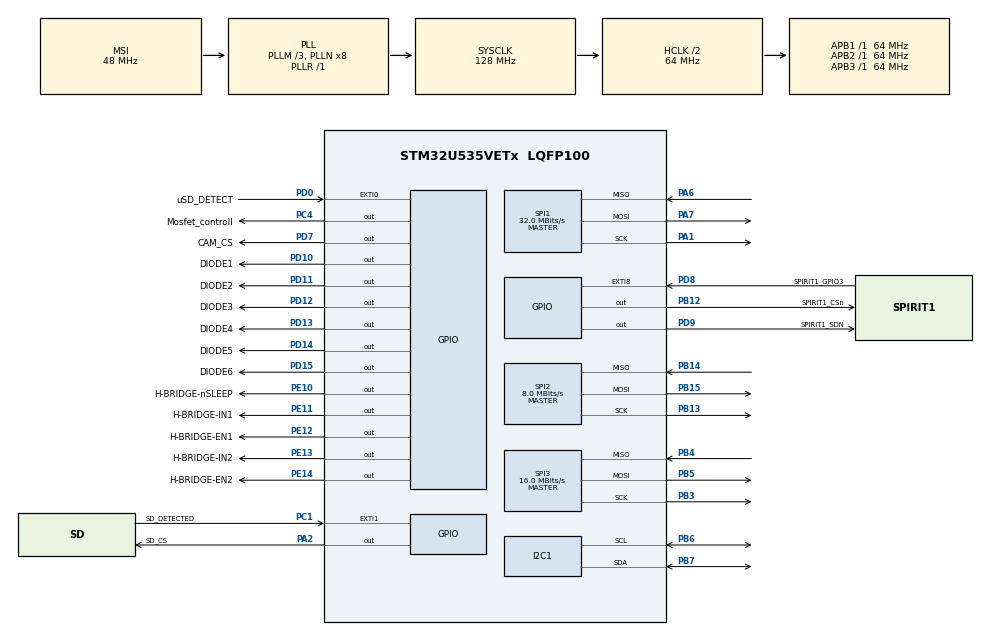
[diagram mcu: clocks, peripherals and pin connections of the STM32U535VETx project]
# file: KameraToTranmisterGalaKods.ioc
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CORTEX_M33_NS.userName=CORTEX_M33
I2C1.Timing=0x10707DBC
Mcu.Family=STM32U5
Mcu.Name=STM32U535VETx
Mcu.Package=LQFP100
NVIC.EXTI8_IRQn=true\:0\:0\:false\:false\:true\:true\:true\:true
NVIC.PriorityGroup=NVIC_PRIORITYGROUP_4
PA1.Mode=Full_Duplex_Master
PA1.Signal=SPI1_SCK
PA13\ (JTMS/SWDIO).Mode=Serial_Wire
PA13\ (JTMS/SWDIO).Signal=DEBUG_JTMS-SWDIO
PA14\ (JTCK/SWCLK).Mode=Serial_Wire
PA14\ (JTCK/SWCLK).Signal=DEBUG_JTCK-SWCLK
PA2.GPIO_Label=SD_CS
PA2.Signal=GPIO_Output
PA6.Mode=Full_Duplex_Master
PA6.Signal=SPI1_MISO
PA7.Mode=Full_Duplex_Master
PA7.Signal=SPI1_MOSI
PB12.GPIO_Label=SPIRIT1_CSn
PB12.Signal=GPIO_Output
PB13.Mode=Full_Duplex_Master
PB13.Signal=SPI2_SCK
PB14.Mode=Full_Duplex_Master
PB14.Signal=SPI2_MISO
PB15.Mode=Full_Duplex_Master
PB15.Signal=SPI2_MOSI
PB3\ (JTDO/TRACESWO).GPIO_PuPd=GPIO_NOPULL
PB3\ (JTDO/TRACESWO).Mode=Full_Duplex_Master
PB3\ (JTDO/TRACESWO).Signal=SPI3_SCK
PB4\ (NJTRST).Mode=Full_Duplex_Master
PB4\ (NJTRST).Signal=SPI3_MISO
PB5.Mode=Full_Duplex_Master
PB5.Signal=SPI3_MOSI
PB6.Mode=I2C
PB6.Signal=I2C1_SCL
PB7.Mode=I2C
PB7.Signal=I2C1_SDA
PC1.GPIO_Label=SD_DETECTED
PC1.Signal=GPXTI1
PC4.GPIO_Label=Mosfet_controll
PC4.Signal=GPIO_Output
PD0.GPIO_Label=uSD_DETECT
PD0.Signal=GPXTI0
PD10.GPIO_Label=DIODE1
PD10.Signal=GPIO_Output
PD11.GPIO_Label=DIODE2
PD11.Signal=GPIO_Output
PD12.GPIO_Label=DIODE3
PD12.Signal=GPIO_Output
PD13.GPIO_Label=DIODE4
PD13.Signal=GPIO_Output
PD14.GPIO_Label=DIODE5
PD14.Signal=GPIO_Output
PD15.GPIO_Label=DIODE6
PD15.Signal=GPIO_Output
PD7.GPIO_Label=CAM_CS
PD7.GPIO_PuPd=GPIO_NOPULL
PD7.Signal=GPIO_Output
PD8.GPIO_Label=SPIRIT1_GPIO3
PD8.GPIO_ModeDefaultEXTI=GPIO_MODE_IT_FALLING
PD8.Privilege=EXTI_LINE_NPRIV
PD8.Signal=GPXTI8
PD9.GPIO_Label=SPIRIT1_SDN
PD9.Signal=GPIO_Output
PE10.GPIO_Label=H-BRIDGE-nSLEEP
PE10.Signal=GPIO_Output
PE11.GPIO_Label=H-BRIDGE-IN1
PE11.Signal=GPIO_Output
PE12.GPIO_Label=H-BRIDGE-EN1
PE12.Signal=GPIO_Output
PE13.GPIO_Label=H-BRIDGE-IN2
PE13.Signal=GPIO_Output
PE14.GPIO_Label=H-BRIDGE-EN2
PE14.Signal=GPIO_Output
ProjectManager.HeapSize=0x200
ProjectManager.StackSize=0x400
ProjectManager.TargetToolchain=STM32CubeIDE
RCC.ADCFreq_Value=16000000
RCC.AHBCLKDivider=RCC_SYSCLK_DIV2
RCC.AHBFreq_Value=64000000
RCC.APB1Freq_Value=64000000
RCC.APB1TimFreq_Value=64000000
RCC.APB2Freq_Value=64000000
RCC.APB2TimFreq_Value=64000000
RCC.APB3Freq_Value=64000000
RCC.CortexFreq_Value=64000000
RCC.DACCLockSelectionVirtual=RCC_DAC1CLKSOURCE_LSI
RCC.DACCLockSelectionVirtualString=RCC_DAC1CLKSOURCE_LSI
RCC.EPOD_VALUE=48000000
RCC.HCLKFreq_Value=64000000
RCC.HSE_VALUE=16000000
RCC.HSI48_VALUE=48000000
RCC.HSI_VALUE=16000000
RCC.LSE_VALUE=32768
RCC.LSIDIV_VALUE=32000
RCC.MSIClockRange=RCC_MSIRANGE_0
RCC.MSI_VALUE=48000000
RCC.PLL1P=1
RCC.PLL1R=1
RCC.PLL2FRACN=0
RCC.PLL3FRACN=0
RCC.PLLFRACN=0
RCC.PLLM=3
RCC.PLLN=8
RCC.SYSCLKFreq_VALUE=128000000
RCC.SYSCLKSource=RCC_SYSCLKSOURCE_PLLCLK
RCC.USBFreq_Value=48000000
RCC.VCOOutputFreq_Value=128000000
SPI1.BaudRatePrescaler=SPI_BAUDRATEPRESCALER_4
SPI1.CalculateBaudRate=32.0 MBits/s
SPI1.DataSize=SPI_DATASIZE_8BIT
SPI1.Direction=SPI_DIRECTION_2LINES
SPI1.Mode=SPI_MODE_MASTER
SPI1.VirtualType=VM_MASTER
SPI2.BaudRatePrescaler=SPI_BAUDRATEPRESCALER_16
SPI2.CalculateBaudRate=8.0 MBits/s
SPI2.DataSize=SPI_DATASIZE_8BIT
SPI2.Direction=SPI_DIRECTION_2LINES
SPI2.Mode=SPI_MODE_MASTER
SPI2.NSSPMode=SPI_NSS_PULSE_DISABLE
SPI2.VirtualType=VM_MASTER
SPI3.BaudRatePrescaler=SPI_BAUDRATEPRESCALER_8
SPI3.CLKPolarity=SPI_POLARITY_LOW
SPI3.CalculateBaudRate=16.0 MBits/s
SPI3.Direction=SPI_DIRECTION_2LINES
SPI3.MasterKeepIOState=SPI_MASTER_KEEP_IO_STATE_ENABLE
SPI3.Mode=SPI_MODE_MASTER
SPI3.NSSPMode=SPI_NSS_PULSE_DISABLE
SPI3.ReadyPolarity=SPI_RDY_POLARITY_LOW
SPI3.VirtualType=VM_MASTER
VP_LPBAMQUEUE_VS_QUEUE.Mode=QUEUEMODE
VP_LPBAM_VS_SIG1.Mode=SmartRun
VP_LPBAM_VS_SIG4.Mode=LPDMA1
VP_MEMORYMAP_VS_MEMORYMAP.Mode=CurAppReg
VP_PWR_VS_SECSignals.Mode=Security/Privilege
VP_RTC_VS_RTC_Activate.Mode=RTC_Enabled
VP_RTC_VS_RTC_Calendar.Mode=RTC_Calendar
board=custom

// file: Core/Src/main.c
/* USER CODE BEGIN Header */
/**
  ******************************************************************************
  * @file           : main.c
  * @brief          : Main program body
  ******************************************************************************
  * @attention
  *
  * Copyright (c) 2024 STMicroelectronics.
  * All rights reserved.
  *
  * This software is licensed under terms that can be found in the LICENSE file
  * in the root directory of this software component.
  * If no LICENSE file comes with this software, it is provided AS-IS.
  *
  ******************************************************************************
  */
/* USER CODE END Header */
#include "main.h"
#include "i2c.h"
#include "memorymap.h"
#include "rtc.h"
#include "spi.h"
#include "gpio.h"

/* USER CODE BEGIN Includes */

#include "app_fatfs.h"
#include "fatfs_sd.h"

#include <string.h> /* memset */

#include "string.h"
#include "ArduCAM.h"
#include <stdbool.h>

#include "Spirit1_function.h"
#include "programm_function.h"
/* USER CODE END Includes */

/* USER CODE BEGIN PD */

//Spirit1 parameters

/* USER CODE END PD */

void SystemClock_Config(void);
/* USER CODE BEGIN PFP */

//Camera function prototypes
int writeSensorRegs16_8(const struct sensor_reg reglist[]);
void initCam();
uint8_t writeSensorReg16_8(int regID, int regDat);
uint8_t readSensorReg16_8(uint16_t regID, uint8_t* regDat);
void write_reg(int address,int value);
uint8_t get_bit(uint8_t addr, uint8_t bit);

void turnCameraOff();
void turnCameraOn();

void takePicture();

void reciveAndSavePicture(FIL* fp);
void turnOnFilter();
void turnOffFilter();
void getTimeAndDate(RTC_TimeTypeDef *sTime, RTC_DateTypeDef *sDate);
/* USER CODE END PFP */

/* USER CODE BEGIN 0 */

//Spirit1 flag status
volatile SpiritFlagStatus xTxDoneFlag;
volatile SpiritFlagStatus xRxDoneFlag;

FATFS fs;  // file system
FIL testFile; // Files
FILINFO fno;
FRESULT fresult;  // status result
UINT br, bw;  // File read/write count

FATFS *pfs;
DWORD fre_clust;
uint32_t total, free_space;

/* USER CODE END 0 */

int main(void)
{
  /* USER CODE BEGIN 1 */
	//Variables
	uint8_t buffer[80];   /* File copy buffer */

	uint8_t spi_recv_buf = 0;
	uint8_t spi_buf;

	uint8_t vid, pid;

    RTC_DateTypeDef gDate;
    RTC_TimeTypeDef gTime;
    char time[55];
  /* USER CODE END 1 */

  /* MCU Configuration--------------------------------------------------------*/

  /* Reset of all peripherals, Initializes the Flash interface and the Systick. */
  HAL_Init();

  /* Configure the system clock */
  SystemClock_Config();

  /* Initialize all configured peripherals */
  MX_GPIO_Init();
  MX_SPI1_Init();
  MX_I2C1_Init();
  MX_SPI2_Init();
  MX_SPI3_Init();
  MX_RTC_Init();
  /* USER CODE BEGIN 2 */
	turnCameraOff();
  //init fatfs
  if (MX_FATFS_Init() != APP_OK) {
      Error_Handler();
   }

  //set_time();

  	// MOUNT SD CARD
  	fresult = f_mount(&fs, "/", 1);
	if (fresult != FR_OK) {
		HAL_GPIO_WritePin(DIODE1_GPIO_Port, DIODE1_Pin, GPIO_PIN_SET);
	} else {
		HAL_GPIO_WritePin(DIODE1_GPIO_Port, DIODE1_Pin, GPIO_PIN_RESET);
	}

  //Create directorys for picture storage
	fresult = f_mkdir("RedzamaGaisma");
	fresult = f_mkdir("IRGaisma");
	fresult = f_mkdir("SutitieAtteli");
	fresult = f_mkdir("Temp");

	Spirit1_init();

  /* USER CODE END 2 */

  /* Infinite loop */
	while (1) {
			/* USER CODE BEGIN 3 */
			/*
			 * Init camera module after turn off
			 */
			turnCameraOn();
			HAL_Delay(50);
			HAL_GPIO_WritePin(CAM_CS_GPIO_Port, CAM_CS_Pin, GPIO_PIN_SET);
			HAL_Delay(20);
			//Check if SPI  communication with camera module is working
			while (spi_recv_buf != 0x55) {
				spi_buf = 0x00 | 0x80;
				HAL_GPIO_WritePin(CAM_CS_GPIO_Port, CAM_CS_Pin, GPIO_PIN_RESET);
				HAL_SPI_TransmitReceive(&hspi3, &spi_buf, &spi_recv_buf, 1, 100);
				spi_buf = 0x55;
				HAL_SPI_TransmitReceive(&hspi3, &spi_buf, &spi_recv_buf, 1, 100);
				HAL_GPIO_WritePin(CAM_CS_GPIO_Port, CAM_CS_Pin, GPIO_PIN_SET);
				spi_buf = 0x00;
				HAL_GPIO_WritePin(CAM_CS_GPIO_Port, CAM_CS_Pin, GPIO_PIN_RESET);
				HAL_SPI_TransmitReceive(&hspi3, &spi_buf, &spi_recv_buf, 1, 100);
				spi_buf = 0x55;
				HAL_SPI_TransmitReceive(&hspi3, &spi_buf, &spi_recv_buf, 1, 100);
				HAL_GPIO_WritePin(CAM_CS_GPIO_Port, CAM_CS_Pin, GPIO_PIN_SET);
				if (spi_recv_buf != 0x55) {
					HAL_GPIO_TogglePin(DIODE2_GPIO_Port, DIODE2_Pin); //Toogle diode to show if  Camera hasnt responded, or we dont recive correct data
					HAL_Delay(1000);
				} else {
					HAL_GPIO_TogglePin(DIODE1_GPIO_Port, DIODE1_Pin); //Tooge diode when Camera  responds correctly
					HAL_Delay(1000);
				}
			}
			//Check if the camera module type is OV5642
			writeSensorReg16_8(0xff, 0x01);
			readSensorReg16_8(OV5642_CHIPID_HIGH, &vid);
			readSensorReg16_8(OV5642_CHIPID_LOW, &pid);
			//Check if camera module responds
			if ((vid != 0x56) || (pid != 0x42)) {
				HAL_GPIO_TogglePin(DIODE2_GPIO_Port, DIODE2_Pin); //Toogle diode to show if  Camera hasnt responded, or we dont recive correct data
				while (1);
			}
			// init cam
			initCam();
			// Write ARDUCHIP_TIM, VSYNC_LEVEL_MASK to spi
			write_reg(ARDUCHIP_TIM, VSYNC_LEVEL_MASK);
			//Change picture size
			// Close auto exposure mode
			//uint8_t _x3503;
			//wrSensorReg16_8(0x5001,_x3503|0x01);
			//Manually set the exposure value
			writeSensorReg16_8(0x3500, 0x00);
			writeSensorReg16_8(0x3501, 0x79);
			writeSensorReg16_8(0x3502, 0xe0);
			/*
			 * Start picture taking and saving into sd card
			 */
			writeSensorRegs16_8(ov5642_320x240);
			sprintf(time, "Temp/temp.JPEG");
			//Create an file
			fresult = f_open(&testFile, time, FA_CREATE_ALWAYS | FA_WRITE);

			// set all camera registers to take a picture

			takePicture();
			//Wait for capture to be done
			while (get_bit(ARDUCHIP_TRIG, CAP_DONE_MASK) == 0);
			writeSensorRegs16_8(ov5642_2592x1944);
			//Recive picture save it into sd card
			reciveAndSavePicture(&testFile);
			f_close(&testFile);
			/* Get the RTC current Time */
			HAL_RTC_GetTime(&hrtc, &gTime, RTC_FORMAT_BIN);
			/* Get the RTC current Date */
			HAL_RTC_GetDate(&hrtc, &gDate, RTC_FORMAT_BIN);
			//Create file for next picture
			sprintf(time, "RedzamaGaisma/PIC-%02d-%02d-%02d-%02d-%02d-%2d.JPEG",
					gTime.Hours, gTime.Minutes, gTime.Seconds, gDate.Date,
					gDate.Month, (2000 + gDate.Year));
			//Create an file
			fresult = f_open(&testFile, time, FA_CREATE_ALWAYS | FA_WRITE);

			// set all camera registers to take a picture
			takePicture();
			//Wait for capture to be done
			while (get_bit(ARDUCHIP_TRIG, CAP_DONE_MASK) == 0);
			//Chose picture size
			//Recive picture save it into sd card
			reciveAndSavePicture(&testFile);
		//	reciveAndSavePicture(&testFile);
			f_close(&testFile);
			turnOnFilter();
			HAL_Delay(100);
			/* Get the RTC current Time */
			HAL_RTC_GetTime(&hrtc, &gTime, RTC_FORMAT_BIN);
			/* Get the RTC current Date */
			HAL_RTC_GetDate(&hrtc, &gDate, RTC_FORMAT_BIN);
			//Create file for next picture
			sprintf(time, "IRGaisma/PIC-%02d-%02d-%02d-%02d-%02d-%2d.JPEG",
					gTime.Hours, gTime.Minutes, gTime.Seconds, gDate.Date,
					gDate.Month, (2000 + gDate.Year));
			//Create an file
			fresult = f_open(&testFile, time,
					FA_CREATE_ALWAYS | FA_WRITE | FA_READ);

			// set all kamera registers to take a picture
			takePicture();
		//	turnOffFilter();
			//Wait for capture to be done
			while (get_bit(ARDUCHIP_TRIG, CAP_DONE_MASK) == 0);
			//Recive picture save it into sd card
			writeSensorRegs16_8(ov5642_320x240);
			reciveAndSavePicture(&testFile);
			f_close(&testFile);
			turnOffFilter();
			/* Get the RTC current Time */
			HAL_RTC_GetTime(&hrtc, &gTime, RTC_FORMAT_BIN);
			/* Get the RTC current Date */
			HAL_RTC_GetDate(&hrtc, &gDate, RTC_FORMAT_BIN);
			/* Display time Format: hh:mm:ss-dd-mm-yy */
			sprintf(time, "SutitieAtteli/PIC-%02d-%02d-%02d-%02d-%02d-%2d.JPEG",
					gTime.Hours, gTime.Minutes, gTime.Seconds, gDate.Date,
					gDate.Month, (2000 + gDate.Year));
			//Create an file
			fresult = f_open(&testFile, time, FA_CREATE_ALWAYS | FA_WRITE);

			// set all camera registers to take a picture
			takePicture();
			//Wait for capture to be done
			while (get_bit(ARDUCHIP_TRIG, CAP_DONE_MASK) == 0);
			writeSensorRegs16_8(ov5642_2592x1944);
			//Recive picture save it into sd card, and send it to ground base station
			reciveAndSavePicture(&testFile);
			f_close(&testFile);
			turnCameraOff();
			fresult = f_open(&testFile, time, FA_READ);
			for (;;) {
				fresult = f_read(&testFile, buffer, sizeof(buffer), &br);
				if (br == 0)
					break; /* error or eof */
				xTxDoneFlag = S_RESET;
				SPSGRF_StartTx(buffer, sizeof(buffer));
				while (!xTxDoneFlag);
			}
			f_close(&testFile);
			HAL_Delay(10000);
		}
  /* USER CODE END 3 */
}

void SystemClock_Config(void)
{
  RCC_OscInitTypeDef RCC_OscInitStruct = {0};
  RCC_ClkInitTypeDef RCC_ClkInitStruct = {0};

  /** Configure the main internal regulator output voltage
  */
  if (HAL_PWREx_ControlVoltageScaling(PWR_REGULATOR_VOLTAGE_SCALE1) != HAL_OK)
  {
    Error_Handler();
  }

  /** Initializes the CPU, AHB and APB buses clocks
  */
  RCC_OscInitStruct.OscillatorType = RCC_OSCILLATORTYPE_LSI|RCC_OSCILLATORTYPE_MSI;
  RCC_OscInitStruct.LSIState = RCC_LSI_ON;
  RCC_OscInitStruct.MSIState = RCC_MSI_ON;
  RCC_OscInitStruct.MSICalibrationValue = RCC_MSICALIBRATION_DEFAULT;
  RCC_OscInitStruct.MSIClockRange = RCC_MSIRANGE_0;
  RCC_OscInitStruct.LSIDiv = RCC_LSI_DIV1;
  RCC_OscInitStruct.PLL.PLLState = RCC_PLL_ON;
  RCC_OscInitStruct.PLL.PLLSource = RCC_PLLSOURCE_MSI;
  RCC_OscInitStruct.PLL.PLLMBOOST = RCC_PLLMBOOST_DIV4;
  RCC_OscInitStruct.PLL.PLLM = 3;
  RCC_OscInitStruct.PLL.PLLN = 8;
  RCC_OscInitStruct.PLL.PLLP = 1;
  RCC_OscInitStruct.PLL.PLLQ = 2;
  RCC_OscInitStruct.PLL.PLLR = 1;
  RCC_OscInitStruct.PLL.PLLRGE = RCC_PLLVCIRANGE_1;
  RCC_OscInitStruct.PLL.PLLFRACN = 0;
  if (HAL_RCC_OscConfig(&RCC_OscInitStruct) != HAL_OK)
  {
    Error_Handler();
  }

  /** Initializes the CPU, AHB and APB buses clocks
  */
  RCC_ClkInitStruct.ClockType = RCC_CLOCKTYPE_HCLK|RCC_CLOCKTYPE_SYSCLK
                              |RCC_CLOCKTYPE_PCLK1|RCC_CLOCKTYPE_PCLK2
                              |RCC_CLOCKTYPE_PCLK3;
  RCC_ClkInitStruct.SYSCLKSource = RCC_SYSCLKSOURCE_PLLCLK;
  RCC_ClkInitStruct.AHBCLKDivider = RCC_SYSCLK_DIV2;
  RCC_ClkInitStruct.APB1CLKDivider = RCC_HCLK_DIV1;
  RCC_ClkInitStruct.APB2CLKDivider = RCC_HCLK_DIV1;
  RCC_ClkInitStruct.APB3CLKDivider = RCC_HCLK_DIV1;

  if (HAL_RCC_ClockConfig(&RCC_ClkInitStruct, FLASH_LATENCY_1) != HAL_OK)
  {
    Error_Handler();
  }
}

/* USER CODE BEGIN 4 */

void HAL_GPIO_EXTI_Falling_Callback(uint16_t GPIO_Pin)
{
	SpiritIrqs xIrqStatus;

	if (GPIO_Pin != SPIRIT1_GPIO3_Pin)
	{
		return;
	}

	SpiritIrqGetStatus(&xIrqStatus);
	if (xIrqStatus.IRQ_TX_DATA_SENT)
	{
		xTxDoneFlag = S_SET;
	}
	if (xIrqStatus.IRQ_RX_DATA_READY)
	{
		xRxDoneFlag = S_SET;
	}
	if (xIrqStatus.IRQ_RX_DATA_DISC || xIrqStatus.IRQ_RX_TIMEOUT)
	{
		SpiritCmdStrobeRx();
	}
}

//Camera functions

/**
 * @brief Writes all the neccasery values to registers
 * to set camera in capture mode, and for it
 * to output jpeg images
 *
 *
 */
void initCam()
{
	writeSensorReg16_8(0x3008, 0x80);
	writeSensorRegs16_8(OV5642_QVGA_Preview);

	HAL_Delay(200);

	writeSensorRegs16_8(OV5642_JPEG_Capture_QSXGA);
	writeSensorRegs16_8(ov5642_320x240);

	HAL_Delay(100);

	writeSensorReg16_8(0x3818, 0xa8);
	writeSensorReg16_8(0x3621, 0x10);
	writeSensorReg16_8(0x3801, 0xb0);
	writeSensorReg16_8(0x4407, 0x08);
	writeSensorReg16_8(0x5888, 0x00);
	writeSensorReg16_8(0x5000, 0xFF);
}

/**
 * @brief Write data to ov5642 sensor using I2C multiple register
 *
 * @param reglist structure whis has all the registers and value
 * that have to be writen to the sensor
 */
int writeSensorRegs16_8(const struct sensor_reg reglist[])
{
	unsigned int reg_addr;
	unsigned char reg_val;
	const struct sensor_reg *next = reglist;

	while ((reg_addr != 0xffff) | (reg_val != 0xff))
	{
		reg_addr = pgm_read_word(&next->reg);
		reg_val = pgm_read_word(&next->val);

		writeSensorReg16_8(reg_addr, reg_val);

		next++;
	}
	return 1;
}

/**
 * @brief Read data from ov5642 sensor using I2C single register
 *
 * @param regID register address
 * @param regDat pointer to data
 */
uint8_t readSensorReg16_8(uint16_t regID, uint8_t *regDat)
{
	uint8_t I2C_buf_register[2];

	I2C_buf_register[0] = regID >> 8;
	I2C_buf_register[1] = regID & 0x00FF;
	HAL_I2C_Master_Transmit(&hi2c1, 0x78, I2C_buf_register, 2, HAL_MAX_DELAY);
	HAL_I2C_Master_Receive(&hi2c1, 0x79, regDat, 1, HAL_MAX_DELAY);
	HAL_Delay(1);

	return 1;
}

/**
 * @brief Write data to ov5642 sensor using I2C single register
 *
 * @param regID register address
 * @param regDat pointer to data
 */
uint8_t writeSensorReg16_8(int regID, int regDat)
{
	uint8_t I2C_buf_register[3];

	I2C_buf_register[0] = regID >> 8;
	I2C_buf_register[1] = regID & 0x00FF;
	I2C_buf_register[2] = regDat & 0x00FF;
	HAL_I2C_Master_Transmit(&hi2c1, 0x78, I2C_buf_register, 3, HAL_MAX_DELAY);

	return 1;
}

/**
 * @brief Write data to camera module register using SPI
 *
 * @param address register address
 * @param value data to be writen in the register
 */
void write_reg(int address, int value)
{
	uint8_t spi_recv_buf = 0;
	uint8_t spi_buf;

	spi_buf = address | 0x80;
	HAL_GPIO_WritePin(CAM_CS_GPIO_Port, CAM_CS_Pin, GPIO_PIN_RESET);
	HAL_SPI_TransmitReceive(&hspi3, &spi_buf, &spi_recv_buf, 1, 100);

	spi_buf = value;
	HAL_SPI_TransmitReceive(&hspi3, &spi_buf, &spi_recv_buf, 1, 100);
	HAL_GPIO_WritePin(CAM_CS_GPIO_Port, CAM_CS_Pin, GPIO_PIN_SET);

}

/**
 * @brief Read data to camera module register using SPI
 *
 * @param address register address
 *
 * @retval Returns read data from register
 *
 */
uint8_t read_reg(int address)
{
	uint8_t spi_recv_buf = 0;
	uint8_t spi_buf;

	spi_buf = address;
	HAL_GPIO_WritePin(CAM_CS_GPIO_Port, CAM_CS_Pin, GPIO_PIN_RESET);
	HAL_SPI_TransmitReceive(&hspi3, &spi_buf, &spi_recv_buf, 1, 100);

	spi_buf = 0x00;
	HAL_SPI_TransmitReceive(&hspi3, &spi_buf, &spi_recv_buf, 1, 100);
	HAL_GPIO_WritePin(CAM_CS_GPIO_Port, CAM_CS_Pin, GPIO_PIN_SET);
	return spi_recv_buf;

}

/**
 * @brief get a single bit from camera module register
 *
 * @param address register address
 * @param bit bit you want to read
 *
 * @retval Returns bit read from register
 */
uint8_t get_bit(uint8_t addr, uint8_t bit)
{
	uint8_t temp;
	temp = read_reg(addr & 0x7F);
	temp = temp & bit;
	return temp;
}

/**
 * @brief Disconnects the power supply of the camera module
 */
void turnCameraOff()
{
	HAL_GPIO_WritePin(Mosfet_controll_GPIO_Port, Mosfet_controll_Pin, 1);
}

/**
 * @brief Connect the power supply to the camera module
 */
void turnCameraOn()
{
	HAL_GPIO_WritePin(Mosfet_controll_GPIO_Port, Mosfet_controll_Pin, 0);
}

/**
 * @brief Set all camera module registers, to take a single picture
 */
void takePicture()
{
	  //Clear fifo flag
	  write_reg(ARDUCHIP_FIFO, FIFO_CLEAR_MASK);

	  //reset fifo read flag
	  write_reg(ARDUCHIP_FIFO, FIFO_RDPTR_RST_MASK);

	  ///Flush FIFO buffer
	  write_reg(ARDUCHIP_FIFO, FIFO_WRPTR_RST_MASK);

	  //Clear fifo flag
	  write_reg(ARDUCHIP_FIFO, FIFO_CLEAR_MASK);

	  // Set the amount of pictures to be taken to 1
	  write_reg(0x01, 1);

	  // Start capture
	  write_reg(ARDUCHIP_FIFO, FIFO_START_MASK);
}

/**
 * @brief Function that recives a picture from camera module,
 * and saves it in micro SD card, in the given path
 *
 * @param fp Pointer to fail object struct
 */
void reciveAndSavePicture(FIL* fp)
{
	uint8_t buffer_TX[PAYLOAD_LEN] = {0x00};
	uint8_t buffer_RX[PAYLOAD_LEN] = {0x00};

	uint8_t lastByteFound = 0;
	uint32_t count = 0, var = 0;
	uint8_t tempData_last;

	while (1)
	{
		readSPIbuff(buffer_TX, buffer_RX, PAYLOAD_LEN);

		count = count +1;

		for (var = 0; var < PAYLOAD_LEN; ++var)
		{
			fresult = f_putc((unsigned char)buffer_RX[var], fp);
			if (checkForLastByte(buffer_RX[var], tempData_last))
			{
				lastByteFound = 1;
				HAL_GPIO_TogglePin(DIODE4_GPIO_Port, DIODE4_Pin); //Toogle if last bit is found
				break;
			}
			if (checkForFirstByte(buffer_RX[var], tempData_last))
			{
				HAL_GPIO_TogglePin(DIODE3_GPIO_Port, DIODE3_Pin); //Toogle if first bit is found
			}
			tempData_last = buffer_RX[var];
		}
		if (lastByteFound == 1)
		{
			lastByteFound = 0;
			if(var > 77)
			{
				SPSGRF_StartTx(buffer_TX, sizeof(buffer_TX));
			}
			break;
		}
	}

	HAL_GPIO_WritePin(CAM_CS_GPIO_Port, CAM_CS_Pin, GPIO_PIN_SET);

	// Show the amount of bytes sent to ground base station
	count = count * PAYLOAD_LEN;

}

/**
 * @brief Turn on IR filter, by changing H  bridge values
 */
void turnOnFilter()
{
	HAL_GPIO_WritePin(H_BRIDGE_nSLEEP_GPIO_Port, H_BRIDGE_nSLEEP_Pin, GPIO_PIN_SET);

	HAL_Delay(10);

	HAL_GPIO_WritePin(H_BRIDGE_EN1_GPIO_Port, H_BRIDGE_EN1_Pin, GPIO_PIN_SET);
	HAL_GPIO_WritePin(H_BRIDGE_EN2_GPIO_Port, H_BRIDGE_EN2_Pin, GPIO_PIN_SET);
	HAL_GPIO_WritePin(H_BRIDGE_IN1_GPIO_Port, H_BRIDGE_IN1_Pin, GPIO_PIN_SET);

	HAL_Delay(200);

	HAL_GPIO_WritePin(H_BRIDGE_EN1_GPIO_Port, H_BRIDGE_EN1_Pin, GPIO_PIN_RESET);
	HAL_GPIO_WritePin(H_BRIDGE_EN2_GPIO_Port, H_BRIDGE_EN2_Pin, GPIO_PIN_RESET);
	HAL_GPIO_WritePin(H_BRIDGE_IN1_GPIO_Port, H_BRIDGE_IN1_Pin, GPIO_PIN_RESET);
	HAL_GPIO_WritePin(H_BRIDGE_nSLEEP_GPIO_Port, H_BRIDGE_nSLEEP_Pin, GPIO_PIN_RESET);
}

/**
 * @brief Turn off IR filter, by changing H  bridge values
 */
void turnOffFilter()
{
	HAL_GPIO_WritePin(H_BRIDGE_nSLEEP_GPIO_Port, H_BRIDGE_nSLEEP_Pin, GPIO_PIN_SET);

	HAL_Delay(10);

	HAL_GPIO_WritePin(H_BRIDGE_EN1_GPIO_Port, H_BRIDGE_EN1_Pin, GPIO_PIN_SET);
	HAL_GPIO_WritePin(H_BRIDGE_EN2_GPIO_Port, H_BRIDGE_EN2_Pin, GPIO_PIN_SET);
	HAL_GPIO_WritePin(H_BRIDGE_IN1_GPIO_Port, H_BRIDGE_IN2_Pin, GPIO_PIN_SET);

	HAL_Delay(200);

	HAL_GPIO_WritePin(H_BRIDGE_EN1_GPIO_Port, H_BRIDGE_EN1_Pin, GPIO_PIN_RESET);
	HAL_GPIO_WritePin(H_BRIDGE_EN2_GPIO_Port, H_BRIDGE_EN2_Pin, GPIO_PIN_RESET);
	HAL_GPIO_WritePin(H_BRIDGE_IN1_GPIO_Port, H_BRIDGE_IN2_Pin, GPIO_PIN_RESET);
	HAL_GPIO_WritePin(H_BRIDGE_nSLEEP_GPIO_Port, H_BRIDGE_nSLEEP_Pin, GPIO_PIN_RESET);
}

/**
 * @brief Turn off IR filter, by changing H  bridge values
 *
 * @param fp Pointer to time structure
 * @param fp Pointer to date structure
 */
void getTimeAndDate(RTC_TimeTypeDef *sTime, RTC_DateTypeDef *sDate)
{
	HAL_RTC_GetTime(&hrtc, sTime, RTC_FORMAT_BIN);
	HAL_RTC_GetDate(&hrtc, sDate, RTC_FORMAT_BIN);
}
/* USER CODE END 4 */

void Error_Handler(void)
{
  __disable_irq();
  while (1)
  {
  }
}
